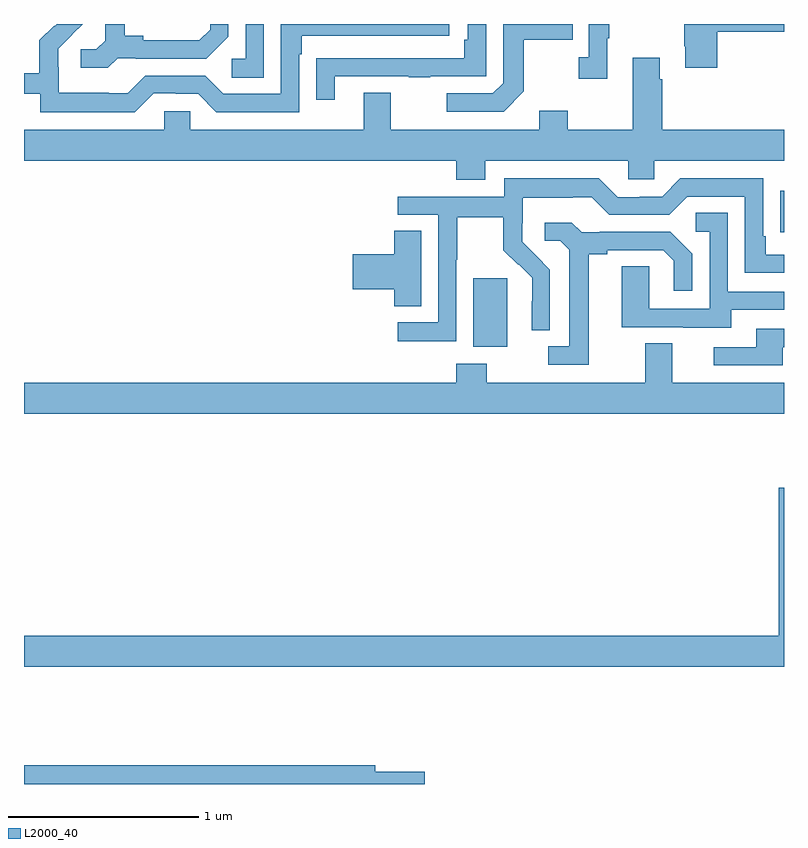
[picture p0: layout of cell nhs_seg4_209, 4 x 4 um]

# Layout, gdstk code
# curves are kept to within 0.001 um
import gdstk
lib = gdstk.Library(unit=1e-6, precision=1e-09)
def R(c, l, rs):  # rectangles x0, y0, x1, y1
    for r in rs: c.add(gdstk.rectangle(r[:2], r[2:], *l))
def P(c, l, *ps):  # polygons
    for p in ps: c.add(gdstk.Polygon(p, *l))
L2000_40 = (2000, 40)

nhs_seg4_209 = lib.new_cell('nhs_seg4_209')
R(nhs_seg4_209, L2000_40, [(123.365,769.202,123.544,769.563), (124.981,769.804,125,770.023), (121.703,770.899,121.848,770.9)])
P(nhs_seg4_209, L2000_40, [(121.494,770.721),(121.588,770.721),(121.588,770.718),(121.96,770.718),(122.076,770.834),(122.076,770.9),(121.979,770.9),(121.979,770.871),(121.922,770.814),(121.627,770.814),(121.627,770.837),(121.531,770.837),(121.531,770.9),(121.427,770.9),(121.427,770.813),(121.38,770.766),(121.299,770.766),(121.299,770.669),(121.442,770.669)],
  [(121.683,770.535),(121.799,770.535),(121.799,770.532),(121.917,770.532),(122.013,770.436),(122.448,770.436),(122.448,770.741),(122.461,770.741),(122.461,770.838),(123.238,770.838),(123.238,770.9),(122.352,770.9),(122.352,770.532),(122.049,770.532),(121.953,770.628),(121.638,770.628),(121.545,770.535),(121.445,770.535),(121.445,770.539),(121.182,770.539),(121.182,770.673),(121.18,770.673),(121.18,770.77),(121.308,770.9),(121.172,770.9),(121.161,770.889),(121.158,770.892),(121.081,770.815),(121.081,770.641),(121,770.641),(121,770.532),(121.086,770.532),(121.086,770.435),(121.583,770.435)],
  [(122.635,770.625),(123.025,770.625),(123.025,770.62),(123.137,770.62),(123.137,770.625),(123.432,770.625),(123.432,770.9),(123.336,770.9),(123.336,770.818),(123.316,770.818),(123.316,770.721),(122.641,770.721),(122.641,770.72),(122.539,770.72),(122.539,770.502),(122.635,770.502)],
  [(124.069,770.825),(124.081,770.825),(124.081,770.9),(123.972,770.9),(123.972,770.726),(123.921,770.726),(123.921,770.613),(124.069,770.613)],
  [(123.631,770.545),(123.631,770.818),(123.887,770.818),(123.887,770.9),(123.522,770.9),(123.522,770.589),(123.468,770.535),(123.225,770.535),(123.225,770.439),(123.525,770.439)],
  [(122.262,770.9),(122.166,770.9),(122.166,770.718),(122.094,770.718),(122.094,770.617),(122.262,770.617)],
  [(124.649,770.86),(125,770.86),(125,770.9),(124.474,770.9),(124.474,770.782),(124.481,770.782),(124.481,770.67),(124.649,770.67)],
  [(123.427,770.18),(124.179,770.18),(124.179,770.082),(124.317,770.082),(124.317,770.18),(125,770.18),(125,770.344),(124.358,770.344),(124.358,770.609),(124.345,770.609),(124.345,770.722),(124.205,770.722),(124.205,770.344),(123.861,770.344),(123.861,770.443),(123.713,770.443),(123.713,770.344),(122.929,770.344),(122.929,770.539),(122.789,770.539),(122.789,770.344),(121.875,770.344),(121.875,770.442),(121.737,770.442),(121.737,770.344),(121,770.344),(121,770.18),(123.275,770.18),(123.275,770.081),(123.427,770.081)],
  [(123.276,769.66),(123.279,769.66),(123.279,769.884),(123.523,769.884),(123.523,769.709),(123.6,769.632),(123.603,769.635),(123.674,769.565),(123.674,769.442),(123.672,769.442),(123.672,769.288),(123.768,769.288),(123.768,769.606),(123.622,769.754),(123.622,769.851),(123.624,769.851),(123.624,769.985),(123.887,769.985),(123.887,769.989),(123.987,769.989),(124.08,769.896),(124.395,769.896),(124.491,769.992),(124.794,769.992),(124.794,769.59),(125,769.59),(125,769.686),(124.903,769.686),(124.903,769.783),(124.89,769.783),(124.89,770.088),(124.455,770.088),(124.359,769.992),(124.241,769.992),(124.241,769.989),(124.125,769.989),(124.025,770.089),(123.528,770.089),(123.528,769.992),(122.967,769.992),(122.967,769.896),(123.18,769.896),(123.18,769.329),(122.967,769.329),(122.967,769.231),(123.276,769.231)],
  [(124.723,769.395),(125,769.395),(125,769.491),(124.704,769.491),(124.704,769.907),(124.536,769.907),(124.536,769.806),(124.608,769.806),(124.608,769.401),(124.29,769.401),(124.29,769.625),(124.145,769.625),(124.145,769.305),(124.469,769.305),(124.469,769.301),(124.723,769.301)],
  [(123.973,769.688),(124.069,769.688),(124.069,769.71),(124.364,769.71),(124.421,769.653),(124.421,769.497),(124.518,769.497),(124.518,769.69),(124.402,769.806),(124.03,769.806),(124.03,769.803),(123.936,769.803),(123.884,769.855),(123.741,769.855),(123.741,769.758),(123.822,769.758),(123.869,769.711),(123.869,769.203),(123.759,769.203),(123.759,769.107),(123.973,769.107)],
  [(123.091,769.811),(122.948,769.811),(122.948,769.688),(122.73,769.688),(122.73,769.505),(122.948,769.505),(122.948,769.414),(123.091,769.414)],
  [(124.993,769.2),(125,769.2),(125,769.296),(124.853,769.296),(124.853,769.2),(124.629,769.2),(124.629,769.104),(124.993,769.104)],
  [(125,769.012),(124.411,769.012),(124.411,769.22),(124.271,769.22),(124.271,769.012),(123.435,769.012),(123.435,769.111),(123.275,769.111),(123.275,769.012),(121,769.012),(121,768.848),(125,768.848)],
  [(125,768.46),(124.973,768.46),(124.973,767.68),(121,767.68),(121,767.516),(125,767.516)],
  [(123.109,766.964),(122.848,766.964),(122.848,767),(121,767),(121,766.9),(123.109,766.9)])

lib.write_gds('nhs_seg4_209.gds')
